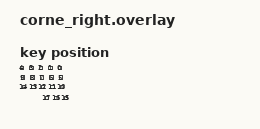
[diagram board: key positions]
/* File: config/boards/shields/corne/corne_right.overlay */

/ {
    chosen {
        /* Select a physical layout for parity/consistency */
        zmk,physical-layout = &corne_right_layout;

        /* Ensure matrix-transform is not selected in /chosen for Studio builds */
        /delete-property/ zmk,matrix-transform;
    }

    /* Physical layout for the right half (18 keys: 3x5 + 3 thumbs) */
    corne_right_layout: physical_layout_right {
        compatible = "zmk,physical-layout";
        display-name = "Corne Right (3x5+3)";
        transform = <&default_transform>;

        /* Mirrored grid; order is row-major (top->bottom, inner->outer), then thumbs (right->left) */
        keys = <
          /* Row 0 (top, 5 keys) */
          &key_physical_attrs 1 1   76   0   0   0   0
          &key_physical_attrs 1 1   57   0   0   0   0
          &key_physical_attrs 1 1   38   0   0   0   0
          &key_physical_attrs 1 1   19   0   0   0   0
          &key_physical_attrs 1 1    0   0   0   0   0

          /* Row 1 (middle, 5 keys) */
          &key_physical_attrs 1 1   78  19   0   0   0
          &key_physical_attrs 1 1   59  19   0   0   0
          &key_physical_attrs 1 1   40  19   0   0   0
          &key_physical_attrs 1 1   21  19   0   0   0
          &key_physical_attrs 1 1    2  19   0   0   0

          /* Row 2 (bottom, 5 keys) */
          &key_physical_attrs 1 1   80  38   0   0   0
          &key_physical_attrs 1 1   61  38   0   0   0
          &key_physical_attrs 1 1   42  38   0   0   0
          &key_physical_attrs 1 1   23  38   0   0   0
          &key_physical_attrs 1 1    4  38   0   0   0

          /* Thumbs (3 keys) */
          &key_physical_attrs 1 1   88  60   0   0   0
          &key_physical_attrs 1 1   69  60   0   0   0
          &key_physical_attrs 1 1   50  60   0   0   0
        >;
    };
};
